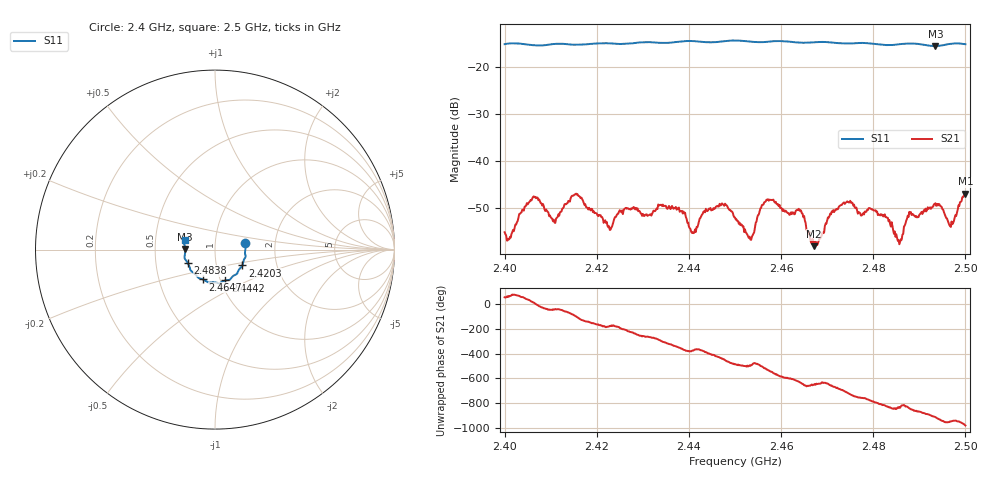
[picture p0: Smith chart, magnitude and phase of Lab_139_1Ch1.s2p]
# Hz S RI R 50
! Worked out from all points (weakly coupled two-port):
!   601 points, 2.4 GHz to 2.5 GHz, reference 50 ohm
!   highest |S21| = -46.94 dB at 2.5 GHz (marker M1); lowest = -58.1 dB at 2.4672 GHz (marker M2)
!   lowest |S11| = -15.6 dB at 2.4935 GHz (marker M3), VSWR 1.40, Z = 35.8 + j0.0988 ohm
!   |S11| at or under -10 dB: start of sweep to end of sweep
!   S12 and S22 are empty: the file has one direction only
!   S11 on the Smith chart (normalised r, x): 2.4 GHz: 1.40, +0.11; 2.4203 GHz: 1.34, -0.24; 2.4442 GHz: 1.06, -0.37; 2.4647 GHz: 0.83, -0.29; 2.4838 GHz: 0.73, -0.11; 2.5 GHz: 0.71, +0.08
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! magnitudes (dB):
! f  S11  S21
! 2.4 GHz  -15.2  -55.1
! 2.4062 GHz  -15.4  -47.7
! 2.4107 GHz  -15.2  -52.5
! 2.4167 GHz  -15.3  -47.8
! 2.4203 GHz  -15.1  -51.7
! 2.4333 GHz  -14.9  -49.3
! 2.441 GHz  -14.6  -55.3
! 2.4442 GHz  -14.8  -50.5
! 2.45 GHz  -14.4  -52.0
! 2.4533 GHz  -14.7  -56.7
! 2.457 GHz  -14.7  -48.2
! 2.4647 GHz  -14.9  -51.2
! 2.4667 GHz  -14.9  -57.6
! 2.4672 GHz  -14.8  -58.1
! 2.474 GHz  -15.1  -48.9
! 2.4833 GHz  -15.4  -52.8
! 2.4838 GHz  -15.4  -54.0
! 2.4857 GHz  -15.2  -57.7
! 2.4878 GHz  -15.1  -50.8
! 2.4935 GHz  -15.6  -49.0
! 2.497 GHz  -15.1  -52.9
! 2.5 GHz  -15.2  -46.9
